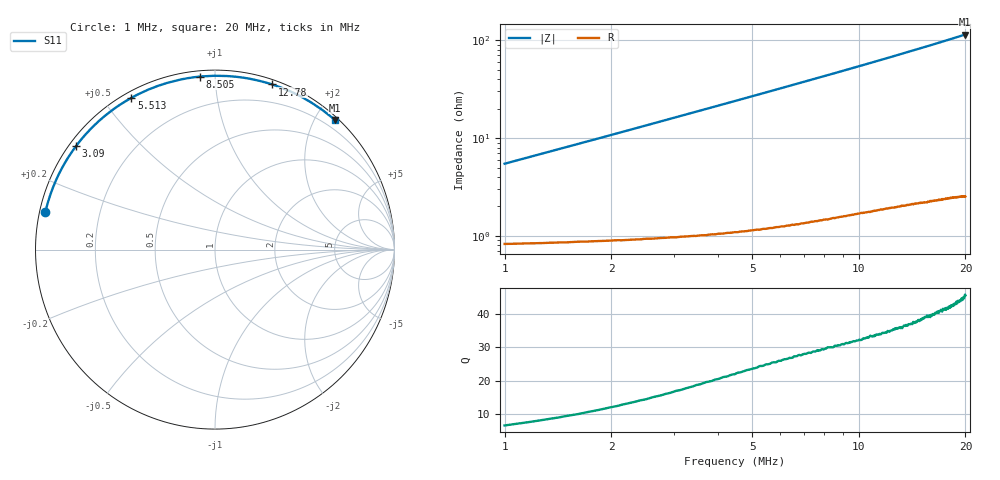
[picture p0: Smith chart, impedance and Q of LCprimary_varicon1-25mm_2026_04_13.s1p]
# HZ S RI R 50
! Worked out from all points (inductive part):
!   401 points, 1 MHz to 20 MHz, reference 50 ohm
!   read as one part to ground: L = 855 nH near 1.095 MHz
!   highest Q = 45.5 at 19.95 MHz (marker M1), where L = 913 nH
!   S11 on the Smith chart (normalised r, x): 1 MHz: 0.02, +0.11; 3.09 MHz: 0.02, +0.33; 5.513 MHz: 0.02, +0.59; 8.505 MHz: 0.03, +0.92; 12.78 MHz: 0.04, +1.40; 20 MHz: 0.05, +2.30
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1000000  -0.9455 0.2068
1095000  -0.941 0.2257
1475000  -0.9196 0.2995
1997500  -0.8814 0.3963
2567500  -0.8299 0.494
3090000  -0.7749 0.576
3375000  -0.7424 0.6171
3897500  -0.6792 0.686
4420000  -0.6119 0.7465
4942500  -0.5427 0.7982
5512500  -0.4657 0.8456
5750000  -0.4337 0.8626
6272500  -0.3634 0.8946
6842500  -0.288 0.922
7507500  -0.2029 0.9449
8125000  -0.1274 0.9588
8505000  -0.0827 0.9639
9455000  0.0228 0.9684
1.05e7  0.1277 0.9618
1.164e7  0.2292 0.9446
1.278e7  0.3182 0.9203
1.2875e7  0.325 0.9181
1.4015e7  0.4016 0.8891
1.525e7  0.4737 0.8552
1.639e7  0.5311 0.8227
1.7625e7  0.5853 0.7869
1.99525e7  0.6687 0.722
2e7  0.6703 0.7205
